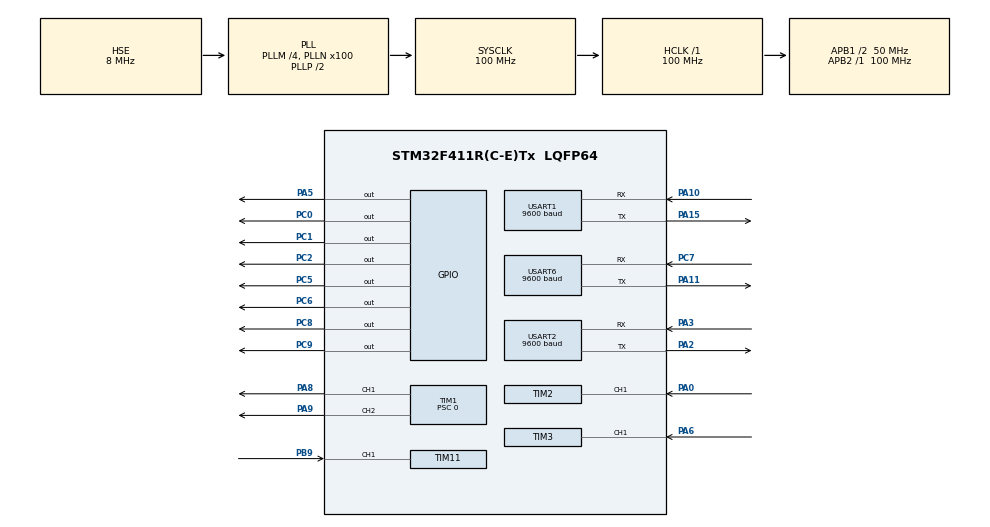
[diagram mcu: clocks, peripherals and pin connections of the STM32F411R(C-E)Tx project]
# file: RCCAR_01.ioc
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Mcu.Family=STM32F4
Mcu.Name=STM32F411R(C-E)Tx
Mcu.Package=LQFP64
NVIC.PriorityGroup=NVIC_PRIORITYGROUP_4
NVIC.TIM1_BRK_TIM9_IRQn=true\:0\:0\:false\:false\:true\:true\:true\:true
NVIC.TIM1_TRG_COM_TIM11_IRQn=true\:0\:0\:false\:false\:true\:true\:true\:true
NVIC.TIM1_UP_TIM10_IRQn=true\:0\:0\:false\:false\:true\:true\:true\:true
NVIC.TIM2_IRQn=true\:0\:0\:false\:false\:true\:true\:true\:true
NVIC.TIM3_IRQn=true\:0\:0\:false\:false\:true\:true\:true\:true
NVIC.USART1_IRQn=true\:0\:0\:false\:false\:true\:true\:true\:true
NVIC.USART6_IRQn=true\:0\:0\:false\:false\:true\:true\:true\:true
PA0-WKUP.Signal=S_TIM2_CH1_ETR
PA10.Mode=Asynchronous
PA10.Signal=USART1_RX
PA11.Mode=Asynchronous
PA11.Signal=USART6_TX
PA13.Mode=Serial_Wire
PA13.Signal=SYS_JTMS-SWDIO
PA14.Mode=Serial_Wire
PA14.Signal=SYS_JTCK-SWCLK
PA15.Mode=Asynchronous
PA15.Signal=USART1_TX
PA2.Mode=Asynchronous
PA2.Signal=USART2_TX
PA3.Mode=Asynchronous
PA3.Signal=USART2_RX
PA5.Signal=GPIO_Output
PA6.Signal=S_TIM3_CH1
PA8.Signal=S_TIM1_CH1
PA9.Signal=S_TIM1_CH2
PB9.Signal=S_TIM11_CH1
PC0.Signal=GPIO_Output
PC1.Signal=GPIO_Output
PC2.Signal=GPIO_Output
PC5.Signal=GPIO_Output
PC6.Signal=GPIO_Output
PC7.Mode=Asynchronous
PC7.Signal=USART6_RX
PC8.Signal=GPIO_Output
PC9.Signal=GPIO_Output
PH0\ -\ OSC_IN.Mode=HSE-External-Clock-Source
PH0\ -\ OSC_IN.Signal=RCC_OSC_IN
PH1\ -\ OSC_OUT.Mode=HSE-External-Clock-Source
PH1\ -\ OSC_OUT.Signal=RCC_OSC_OUT
ProjectManager.HeapSize=0x200
ProjectManager.StackSize=0x400
ProjectManager.TargetToolchain=STM32CubeIDE
RCC.48MHZClocksFreq_Value=50000000
RCC.AHBFreq_Value=100000000
RCC.APB1CLKDivider=RCC_HCLK_DIV2
RCC.APB1Freq_Value=50000000
RCC.APB1TimFreq_Value=100000000
RCC.APB2Freq_Value=100000000
RCC.APB2TimFreq_Value=100000000
RCC.CortexFreq_Value=100000000
RCC.HCLKFreq_Value=100000000
RCC.HSE_VALUE=8000000
RCC.HSI_VALUE=16000000
RCC.LSE_VALUE=32768
RCC.PLLM=4
RCC.PLLN=100
RCC.PLLSourceVirtual=RCC_PLLSOURCE_HSE
RCC.RCC_RTC_Clock_Source=RCC_RTCCLKSOURCE_LSI
RCC.RCC_RTC_Clock_SourceVirtual=RCC_RTCCLKSOURCE_LSI
RCC.SYSCLKFreq_VALUE=100000000
RCC.SYSCLKSource=RCC_SYSCLKSOURCE_PLLCLK
RCC.VCOOutputFreq_Value=200000000
SH.S_TIM11_CH1.0=TIM11_CH1,Input_Capture1_from_TI1
SH.S_TIM1_CH1.0=TIM1_CH1,PWM Generation1 CH1
SH.S_TIM1_CH2.0=TIM1_CH2,PWM Generation2 CH2
SH.S_TIM2_CH1_ETR.0=TIM2_CH1,Input_Capture1_from_TI1
SH.S_TIM3_CH1.0=TIM3_CH1,Input_Capture1_from_TI1
TIM1.Channel-PWM\ Generation1\ CH1=TIM_CHANNEL_1
TIM1.Channel-PWM\ Generation2\ CH2=TIM_CHANNEL_2
TIM1.Period=4999
TIM1.Prescaler=0
TIM11.Channel=TIM_CHANNEL_1
TIM11.ICFilter_CH1=7
TIM11.Prescaler=100-1
TIM2.Channel-Input_Capture1_from_TI1=TIM_CHANNEL_1
TIM2.ICFilter_CH1=7
TIM2.Prescaler=100-1
TIM3.Channel-Input_Capture1_from_TI1=TIM_CHANNEL_1
TIM3.ICFilter_CH1=7
TIM3.Prescaler=100-1
TIM9.Period=1000-1
TIM9.Prescaler=50-1
USART1.BaudRate=9600
USART1.VirtualMode=VM_ASYNC
USART2.BaudRate=9600
USART2.VirtualMode=VM_ASYNC
USART6.BaudRate=9600
USART6.VirtualMode=VM_ASYNC
VP_TIM10_VS_ClockSourceINT.Mode=Enable_Timer
VP_TIM11_VS_ClockSourceINT.Mode=Enable_Timer
VP_TIM1_VS_ClockSourceINT.Mode=Internal
VP_TIM2_VS_ClockSourceINT.Mode=Internal
VP_TIM3_VS_ClockSourceINT.Mode=Internal
VP_TIM9_VS_ClockSourceINT.Mode=Internal
board=custom

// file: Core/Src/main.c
/* USER CODE BEGIN Header */
/**
  ******************************************************************************
  * @file           : main.c
  * @brief          : Main program body
  ******************************************************************************
  * @attention
  *
  * Copyright (c) 2026 STMicroelectronics.
  * All rights reserved.
  *
  * This software is licensed under terms that can be found in the LICENSE file
  * in the root directory of this software component.
  * If no LICENSE file comes with this software, it is provided AS-IS.
  *
  ******************************************************************************
  */
/* USER CODE END Header */
#include "main.h"
#include "tim.h"
#include "usart.h"
#include "gpio.h"

/* USER CODE BEGIN Includes */
#include "delay.h"
#include "time.h"
#include "triple_sonic.h"
#include "rcmotor.h"
#include "save_queue.h"
#include "stdio.h"
#include "follow_control.h"
/* USER CODE END Includes */

/* USER CODE BEGIN PD */

extern uint8_t pData; // uart선언시 필요함

/* USER CODE END PD */

void SystemClock_Config(void);

int main(void)
{

  /* MCU Configuration--------------------------------------------------------*/

  /* Reset of all peripherals, Initializes the Flash interface and the Systick. */
  HAL_Init();

  /* Configure the system clock */
  SystemClock_Config();

  /* Initialize all configured peripherals */
  MX_GPIO_Init();
  MX_TIM3_Init();
  MX_TIM10_Init();
  MX_TIM11_Init();
  MX_TIM2_Init();
  MX_TIM1_Init();
  MX_USART1_UART_Init();
  MX_TIM9_Init();
  MX_USART2_UART_Init();
  MX_USART6_UART_Init();
  /* USER CODE BEGIN 2 */
  //======================================================
  HAL_TIM_PWM_Start(&htim1, TIM_CHANNEL_1);     // PWM제어용 2개
  HAL_TIM_PWM_Start(&htim1, TIM_CHANNEL_2);

  HAL_TIM_Base_Start_IT(&htim9);
  //HAL_TIM_Base_Start(&htim9);                 // 속도 가감속용
  HAL_TIM_Base_Start(&htim10);                  // delay_us
  HAL_TIM_IC_Start_IT(&htim3, TIM_CHANNEL_1);   // 초음파용 3개
  HAL_TIM_IC_Start_IT(&htim2, TIM_CHANNEL_1);
  HAL_TIM_IC_Start_IT(&htim11, TIM_CHANNEL_1);

  HAL_UART_Receive_IT(&huart6, &pData, 1);      // 운전용 uart HC06과 휴대폰과의 연결에 필요
//======================================================
  //초기 샘플링시 0이므로 초기값 측정
//  HCSCR04_TRG(&ult_sonic);
//  sample1 = ult_sonic.num[0].distance;
//  sample2 = ult_sonic.num[1].distance;
//  sample3 = ult_sonic.num[2].distance;
  //======================================================
  // 반드시 반드시 있어야 함. 이놈이 있어야 HC06이 깨어남.
  //HAL_UART_Transmit(&huart6, (uint8_t*)"START", 5, 100);
  //num[0] Echo PA6, Trig PC0
  //num[1] Echo PA0, Trig PC1
  //num[2] Echo PB9, Trig PC2
  //PC8,PC9,PC5,PC6 모터 드라이버 제어신호
  /* USER CODE END 2 */

  /* Infinite loop */
  /* USER CODE BEGIN WHILE */
  while (1)
  {
    // 주행 기록모드
    //Save_driving_recdord(&ult_sonic);
    // 초음파 출력모드
    //Only_recdord(&ult_sonic);
    // 자율주행 모드(클래식) - 16초
    //auto_move(&ult_sonic);
    // PID모드
    PID_move(&ult_sonic);

    /* USER CODE END WHILE */

  }
}

void SystemClock_Config(void)
{
  RCC_OscInitTypeDef RCC_OscInitStruct = {0};
  RCC_ClkInitTypeDef RCC_ClkInitStruct = {0};

  /** Configure the main internal regulator output voltage
  */
  __HAL_RCC_PWR_CLK_ENABLE();
  __HAL_PWR_VOLTAGESCALING_CONFIG(PWR_REGULATOR_VOLTAGE_SCALE1);

  /** Initializes the RCC Oscillators according to the specified parameters
  * in the RCC_OscInitTypeDef structure.
  */
  RCC_OscInitStruct.OscillatorType = RCC_OSCILLATORTYPE_HSE;
  RCC_OscInitStruct.HSEState = RCC_HSE_BYPASS;
  RCC_OscInitStruct.PLL.PLLState = RCC_PLL_ON;
  RCC_OscInitStruct.PLL.PLLSource = RCC_PLLSOURCE_HSE;
  RCC_OscInitStruct.PLL.PLLM = 4;
  RCC_OscInitStruct.PLL.PLLN = 100;
  RCC_OscInitStruct.PLL.PLLP = RCC_PLLP_DIV2;
  RCC_OscInitStruct.PLL.PLLQ = 4;
  if (HAL_RCC_OscConfig(&RCC_OscInitStruct) != HAL_OK)
  {
    Error_Handler();
  }

  /** Initializes the CPU, AHB and APB buses clocks
  */
  RCC_ClkInitStruct.ClockType = RCC_CLOCKTYPE_HCLK|RCC_CLOCKTYPE_SYSCLK
                              |RCC_CLOCKTYPE_PCLK1|RCC_CLOCKTYPE_PCLK2;
  RCC_ClkInitStruct.SYSCLKSource = RCC_SYSCLKSOURCE_PLLCLK;
  RCC_ClkInitStruct.AHBCLKDivider = RCC_SYSCLK_DIV1;
  RCC_ClkInitStruct.APB1CLKDivider = RCC_HCLK_DIV2;
  RCC_ClkInitStruct.APB2CLKDivider = RCC_HCLK_DIV1;

  if (HAL_RCC_ClockConfig(&RCC_ClkInitStruct, FLASH_LATENCY_3) != HAL_OK)
  {
    Error_Handler();
  }
}

/* USER CODE BEGIN 4 */
//// UART 에러 발생 시(빨간불) 호출되는 함수
//void HAL_UART_ErrorCallback(UART_HandleTypeDef *huart)
//{
//  if(huart->Instance == USART1)
//  {
//    // 1. 에러 플래그들을 강제로 날려버림 (Overrun, Noise, Frame Error)
//    __HAL_UART_CLEAR_OREFLAG(huart);
//    __HAL_UART_CLEAR_NEFLAG(huart);
//    __HAL_UART_CLEAR_FEFLAG(huart);
//
//    // 2. 죽어있는 수신 기능을 강제로 다시 켬
//    HAL_UART_Receive_IT(&huart1, &pData, 1);
//  }
//}
/* USER CODE END 4 */

void Error_Handler(void)
{
  __disable_irq();
  while (1)
  {
  }
}
